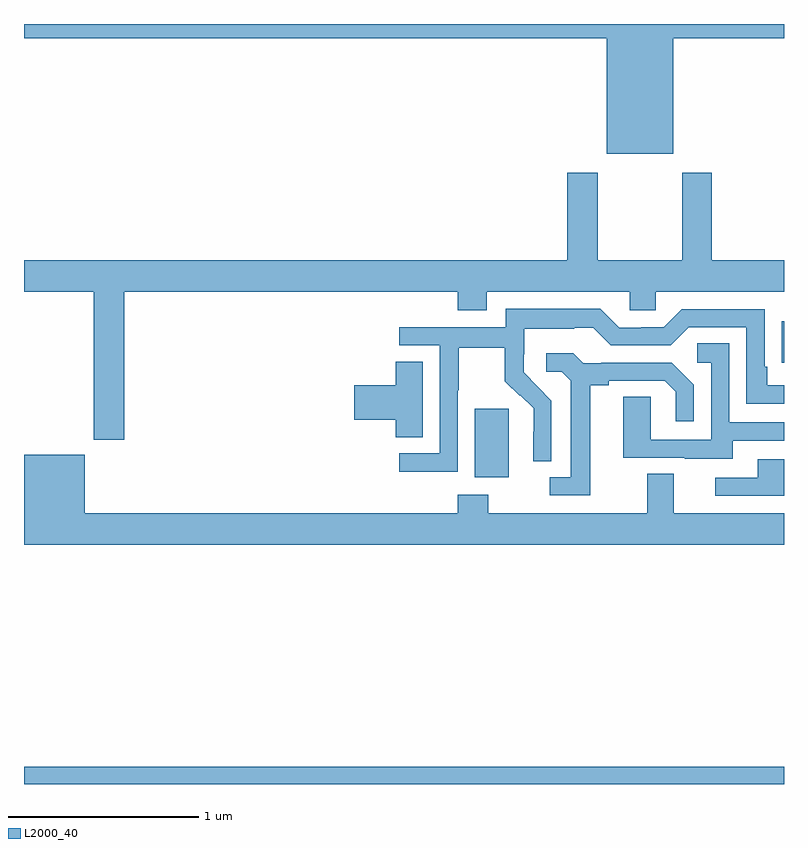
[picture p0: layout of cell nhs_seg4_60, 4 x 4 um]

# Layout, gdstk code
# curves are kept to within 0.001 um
import gdstk
lib = gdstk.Library(unit=1e-6, precision=1e-09)
def R(c, l, rs):  # rectangles x0, y0, x1, y1
    for r in rs: c.add(gdstk.rectangle(r[:2], r[2:], *l))
def P(c, l, *ps):  # polygons
    for p in ps: c.add(gdstk.Polygon(p, *l))
L2000_40 = (2000, 40)

nhs_seg4_60 = lib.new_cell('nhs_seg4_60')
R(nhs_seg4_60, L2000_40, [(113,788.9,117,788.992), (115.373,790.514,115.552,790.875), (116.989,791.116,117,791.335)])
P(nhs_seg4_60, L2000_40, [(116.416,792.824),(117,792.824),(117,792.9),(113,792.9),(113,792.824),(116.066,792.824),(116.066,792.218),(116.416,792.218)],
  [(113.528,791.492),(115.283,791.492),(115.283,791.393),(115.435,791.393),(115.435,791.492),(116.187,791.492),(116.187,791.394),(116.325,791.394),(116.325,791.492),(117,791.492),(117,791.656),(116.619,791.656),(116.619,792.118),(116.464,792.118),(116.464,791.656),(116.019,791.656),(116.019,792.118),(115.859,792.118),(115.859,791.656),(113,791.656),(113,791.492),(113.368,791.492),(113.368,790.713),(113.528,790.713)],
  [(115.284,790.972),(115.287,790.972),(115.287,791.196),(115.531,791.196),(115.531,791.021),(115.608,790.944),(115.611,790.947),(115.682,790.877),(115.682,790.754),(115.68,790.754),(115.68,790.6),(115.776,790.6),(115.776,790.918),(115.63,791.066),(115.63,791.163),(115.632,791.163),(115.632,791.297),(115.895,791.297),(115.895,791.301),(115.995,791.301),(116.088,791.208),(116.403,791.208),(116.499,791.304),(116.802,791.304),(116.802,790.902),(117,790.902),(117,790.998),(116.911,790.998),(116.911,791.095),(116.898,791.095),(116.898,791.4),(116.463,791.4),(116.367,791.304),(116.249,791.304),(116.249,791.301),(116.133,791.301),(116.033,791.401),(115.536,791.401),(115.536,791.304),(114.975,791.304),(114.975,791.208),(115.188,791.208),(115.188,790.641),(114.975,790.641),(114.975,790.543),(115.284,790.543)],
  [(116.731,790.707),(117,790.707),(117,790.803),(116.712,790.803),(116.712,791.219),(116.544,791.219),(116.544,791.118),(116.616,791.118),(116.616,790.713),(116.298,790.713),(116.298,790.937),(116.153,790.937),(116.153,790.617),(116.477,790.617),(116.477,790.613),(116.731,790.613)],
  [(115.981,791),(116.077,791),(116.077,791.022),(116.372,791.022),(116.429,790.965),(116.429,790.809),(116.526,790.809),(116.526,791.002),(116.41,791.118),(116.038,791.118),(116.038,791.115),(115.944,791.115),(115.892,791.167),(115.749,791.167),(115.749,791.07),(115.83,791.07),(115.877,791.023),(115.877,790.515),(115.767,790.515),(115.767,790.419),(115.981,790.419)],
  [(115.099,791.123),(114.956,791.123),(114.956,791),(114.738,791),(114.738,790.817),(114.956,790.817),(114.956,790.726),(115.099,790.726)],
  [(117,790.324),(116.419,790.324),(116.419,790.532),(116.279,790.532),(116.279,790.324),(115.443,790.324),(115.443,790.423),(115.283,790.423),(115.283,790.324),(113.32,790.324),(113.32,790.633),(113,790.633),(113,790.16),(117,790.16)],
  [(117,790.608),(116.861,790.608),(116.861,790.512),(116.637,790.512),(116.637,790.416),(117,790.416)])

lib.write_gds('nhs_seg4_60.gds')
